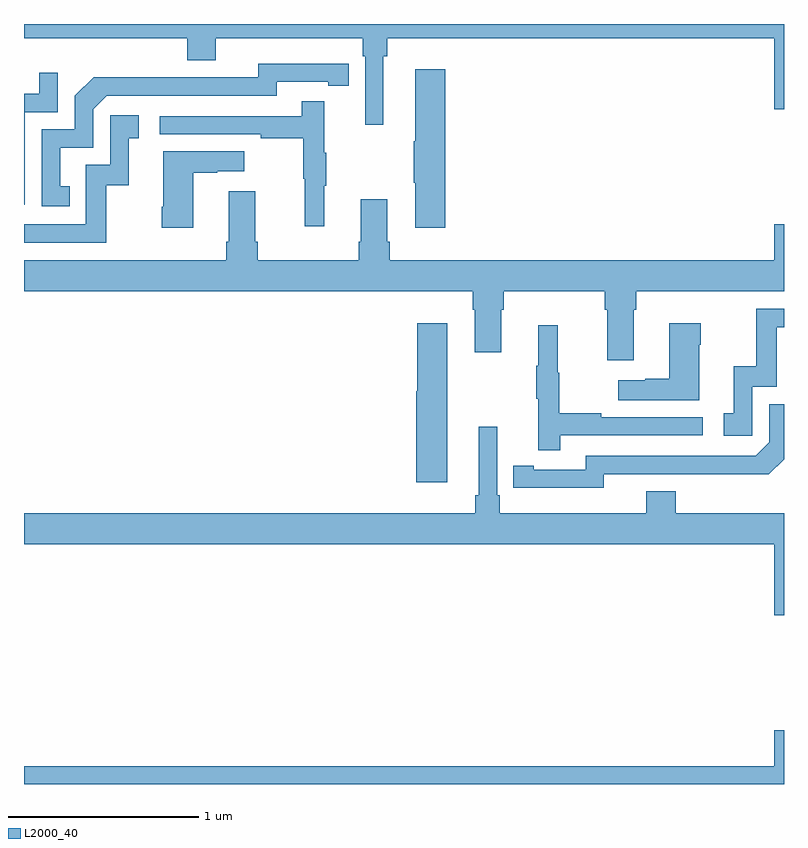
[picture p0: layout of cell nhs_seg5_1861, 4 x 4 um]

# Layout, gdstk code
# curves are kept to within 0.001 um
import gdstk
lib = gdstk.Library(unit=1e-6, precision=1e-09)
def P(c, l, *ps):  # polygons
    for p in ps: c.add(gdstk.Polygon(p, *l))
L2000_40 = (2000, 40)

nhs_seg5_1861 = lib.new_cell('nhs_seg5_1861')
P(nhs_seg5_1861, L2000_40, [(222.892,892.628),(222.911,892.628),(222.911,892.724),(224.948,892.724),(224.948,892.35),(225,892.35),(225,892.799),(221,892.799),(221,892.724),(221.858,892.724),(221.858,892.607),(222.01,892.607),(222.01,892.724),(222.782,892.724),(222.782,892.628),(222.795,892.628),(222.795,892.269),(222.892,892.269)],
  [(221.24,891.945),(221.191,891.945),(221.191,892.149),(221.364,892.149),(221.364,892.35),(221.436,892.422),(222.33,892.422),(222.33,892.494),(222.602,892.494),(222.602,892.474),(222.71,892.474),(222.71,892.59),(222.234,892.591),(222.234,892.518),(221.774,892.518),(221.774,892.52),(221.366,892.52),(221.268,892.422),(221.268,892.245),(221.094,892.245),(221.094,891.84),(221.24,891.84)],
  [(223.217,892.561),(223.058,892.561),(223.058,892.181),(223.051,892.181),(223.051,891.964),(223.058,891.964),(223.058,891.726),(223.217,891.726)],
  [(221.004,892.335),(221.178,892.335),(221.178,892.543),(221.081,892.543),(221.081,892.431),(221,892.431),(221,891.849),(221.004,891.849)],
  [(222.581,891.947),(222.592,891.947),(222.592,892.121),(222.581,892.121),(222.581,892.393),(222.463,892.393),(222.463,892.314),(221.715,892.314),(221.715,892.218),(222.247,892.218),(222.247,892.198),(222.471,892.198),(222.471,891.984),(222.478,891.984),(222.478,891.735),(222.581,891.735)],
  [(221.434,891.951),(221.552,891.951),(221.552,892.197),(221.605,892.197),(221.605,892.318),(221.454,892.318),(221.454,892.059),(221.325,892.059),(221.325,891.744),(221,891.744),(221,891.648),(221.434,891.648)],
  [(221.89,892.015),(222.017,892.015),(222.017,892.025),(222.16,892.025),(222.16,892.129),(221.732,892.129),(221.732,891.838),(221.725,891.838),(221.725,891.726),(221.89,891.726)],
  [(224.209,891.296),(224.222,891.296),(224.222,891.392),(225,891.392),(225,891.745),(224.948,891.745),(224.948,891.556),(222.926,891.556),(222.926,891.652),(222.913,891.652),(222.913,891.877),(222.773,891.877),(222.773,891.652),(222.761,891.652),(222.761,891.556),(222.23,891.556),(222.23,891.652),(222.217,891.652),(222.217,891.919),(222.077,891.919),(222.077,891.652),(222.065,891.652),(222.065,891.556),(221,891.556),(221,891.392),(223.361,891.392),(223.361,891.296),(223.373,891.296),(223.373,891.072),(223.513,891.072),(223.513,891.296),(223.526,891.296),(223.526,891.392),(224.057,891.392),(224.057,891.296),(224.069,891.296),(224.069,891.03),(224.209,891.03)],
  [(224.832,890.889),(224.961,890.889),(224.961,891.204),(225,891.204),(225,891.3),(224.853,891.3),(224.853,890.998),(224.735,890.998),(224.735,890.751),(224.682,890.751),(224.682,890.631),(224.832,890.631)],
  [(224.554,891.11),(224.562,891.11),(224.562,891.223),(224.396,891.223),(224.396,890.933),(224.27,890.933),(224.27,890.923),(224.127,890.923),(224.127,890.819),(224.554,890.819)],
  [(223.228,891.223),(223.07,891.223),(223.07,890.865),(223.064,890.865),(223.064,890.388),(223.228,890.388)],
  [(223.823,890.634),(224.572,890.634),(224.572,890.73),(224.039,890.73),(224.039,890.75),(223.816,890.75),(223.816,890.964),(223.808,890.964),(223.808,891.214),(223.706,891.214),(223.706,891.001),(223.695,891.001),(223.695,890.827),(223.706,890.827),(223.706,890.556),(223.823,890.556)],
  [(224.052,890.43),(224.92,890.429),(225,890.508),(225,890.799),(224.922,890.799),(224.922,890.598),(224.85,890.526),(223.956,890.526),(223.956,890.454),(223.684,890.454),(223.684,890.474),(223.576,890.474),(223.576,890.358),(224.052,890.357)],
  [(225,890.224),(224.429,890.224),(224.429,890.341),(224.276,890.341),(224.276,890.224),(223.505,890.224),(223.505,890.32),(223.491,890.32),(223.491,890.68),(223.394,890.68),(223.394,890.32),(223.375,890.32),(223.375,890.224),(221,890.224),(221,890.06),(224.948,890.06),(224.948,889.686),(225,889.686)],
  [(225,889.081),(224.948,889.081),(224.948,888.892),(221,888.892),(221,888.799),(225,888.799)])

lib.write_gds('nhs_seg5_1861.gds')
